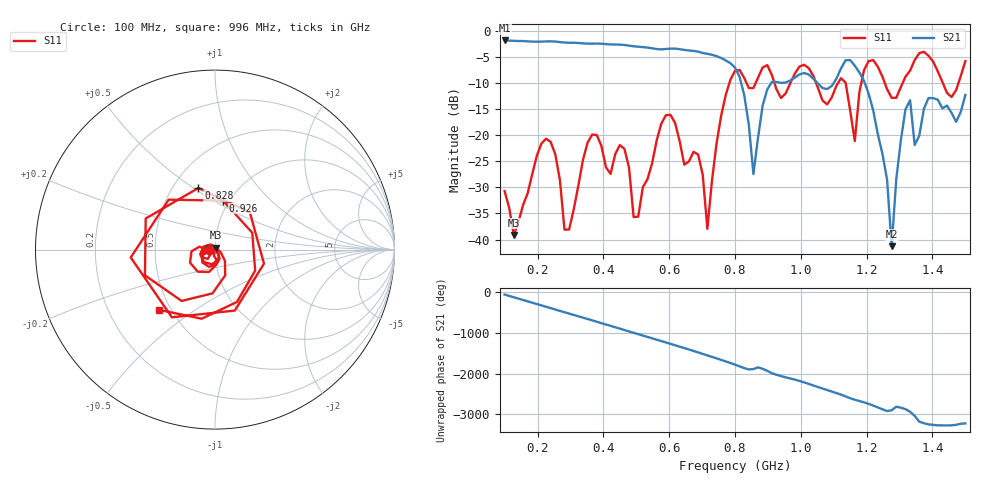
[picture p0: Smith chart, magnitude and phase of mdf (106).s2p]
! NanoVNA-App
! Date: 2025-09-25 17:41:47
! Start: 100MHz Stop: 1,5GHz Points: 101
! S-Parameter data: F S11 S21 S12 S22
# Hz S RI R 50
!  Frequency  S11_Real  S11_Imag  S21_Real  S21_Imag  S12_Real  S12_Imag  S22_Real  S22_Imag
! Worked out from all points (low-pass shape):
!   101 points, 100 MHz to 1.5 GHz, reference 50 ohm
!   highest |S21| = -1.80 dB at 100 MHz (marker M1); lowest = -41.3 dB at 1.276 GHz (marker M2)
!   |S21| within 3 dB of the highest: start of sweep to 743.7 MHz
!   lowest |S11| = -39.1 dB at 128 MHz (marker M3), VSWR 1.02, Z = 50.3 + j1.06 ohm
!   |S11| at or under -10 dB: start of sweep to 782.8 MHz; 1.046 GHz to 1.113 GHz (66.37 MHz wide, 6.15 % of centre); 1.255 GHz to 1.309 GHz (53.87 MHz wide, 4.2 % of centre)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
!   S12 and S22 are empty: the file has one direction only
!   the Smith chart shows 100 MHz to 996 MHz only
!   S11 on the Smith chart (normalised r, x): 100 MHz: 0.94, -0.01; 828 MHz: 0.67, +0.52; 926 MHz: 0.94, +0.55; 996 MHz: 0.43, -0.37
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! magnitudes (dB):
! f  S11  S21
! 100 MHz  -30.7  -1.8
! 128 MHz  -39.1  -1.9
! 212 MHz  -21.6  -2.0
! 282 MHz  -38.1  -2.2
! 338 MHz  -24.7  -2.4
! 464 MHz  -22.6  -2.7
! 506 MHz  -35.6  -3.0
! 576 MHz  -17.8  -3.5
! 688 MHz  -23.7  -3.9
! 716 MHz  -37.9  -4.4
! 800 MHz  -7.6  -7.0
! 828 MHz  -9.0  -12.2
! 856 MHz  -10.9  -27.4
! 926 MHz  -11.2  -9.8
! 996 MHz  -6.8  -8.3
! 1.038 GHz  -8.6  -9.1
! 1.136 GHz  -9.9  -5.6
! 1.164 GHz  -21.1  -6.6
! 1.192 GHz  -7.5  -9.6
! 1.276 GHz  -12.8  -41.3
! 1.318 GHz  -8.8  -15.0
! 1.5 GHz  -5.8  -12.3
